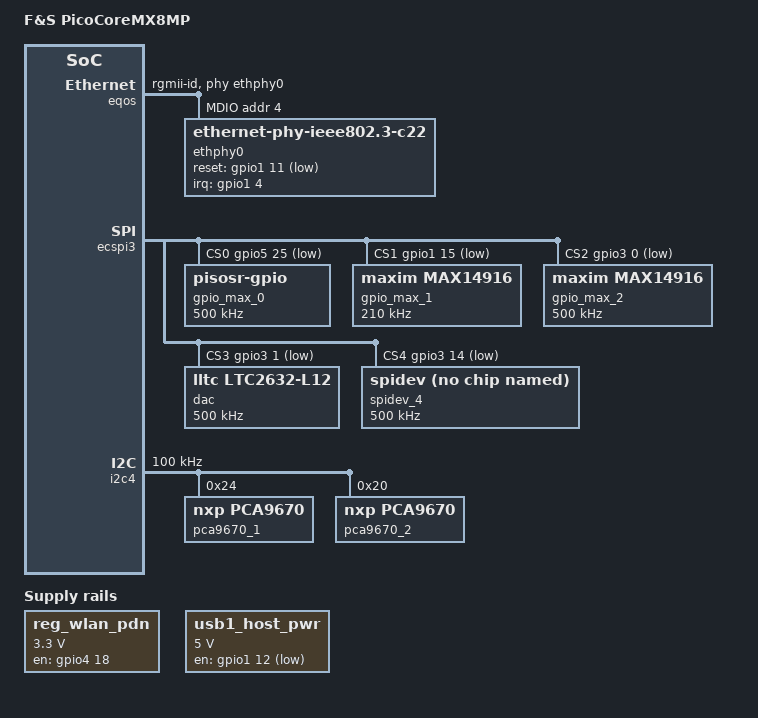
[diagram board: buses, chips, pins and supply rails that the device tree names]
/*
 * Copyright (C) 2023 I-GraphX GmbH
 *
 * This program is free software; you can redistribute it and/or modify
 * it under the terms of the GNU General Public License version 2 as
 * published by the Free Software Foundation.
 */

/dts-v1/;

#define CONFIG_PICOCOREBBDSI_BOARD_REVISION 140

#define CONFIG_PICOCOREMX8MP_ETH_A

#define CONFIG_PICOCOREMX8MP_WLAN
#define CONFIG_PICOCOREMX8MP_WLAN_MARVELL_DRV

#define CONFIG_PICOCOREMX8MP_USB_HOST

#define CONFIG_PICOCOREMX8MP_EEPROM

#define CONFIG_PICOCOREMX8MP_CAN_A
#define CONFIG_PICOCOREMX8MP_CAN_B

#define CONFIG_PICOCOREMX8MP_I2C_B
#define CONFIG_PICOCOREMX8MP_I2C_E

#define CONFIG_PICOCOREMX8MP_PWM_A
#define CONFIG_PICOCOREMX8MP_BL_CTRL

#define CONFIG_PICOCOREMX8MP_UART_A
#define CONFIG_PICOCOREMX8MP_UART_A_RTSCTS
#define CONFIG_PICOCOREMX8MP_UART_B
#define CONFIG_PICOCOREMX8MP_UART_B_RTSCTS

#define CONFIG_PICOCOREMX8MP_UART_C
#define CONFIG_PICOCOREMX8MP_UART_D

#define CONFIG_PICOCOREMX8MP_SPI_A

#define CONFIG_PICOCOREMX8MP_SD_A
#define CONFIG_PICOCOREMX8MP_SD_A_CD

#define CONFIG_PICOCOREMX8MP_EXT_RTC


#include "../F+S/picocoremx8mp.dtsi"

/ {
	model = "F&S PicoCoreMX8MP";
	reg_wlan_pdn: regulator-usdhc2-wlan {
		compatible = "regulator-fixed";
		regulator-name = "WLAN_RESET";
		regulator-min-microvolt = <3300000>;
		regulator-max-microvolt = <3300000>;
		gpio = <&gpio4 18 GPIO_ACTIVE_LOW>;
		off-on-delay-us = <1000>;
		enable-active-high;
	};

	regulator-usb1-vbus {
		compatible = "regulator-fixed";
		regulator-name = "usb1_host_pwr";
		pinctrl-names = "default";
		pinctrl-0 = <&pinctrl_usb1_pwr>;
		regulator-min-microvolt = <5000000>;
		regulator-max-microvolt = <5000000>;
		gpio = <&gpio1 12 GPIO_ACTIVE_LOW>;
		regulator-always-on;
	};

};
/* -------------------- BOARD INFO -------------------- */
&bdinfo {
        board_name = "igx-hmi1";
};

&eqos {
	pinctrl-names = "default";
	pinctrl-0 = <&pinctrl_eqos>;
	phy-mode = "rgmii-id";
	phy-handle = <&ethphy0>;
	snps,force_thresh_dma_mode;
	snps,mtl-tx-config = <&mtl_tx_setup>;
	snps,mtl-rx-config = <&mtl_rx_setup>;
	status = "okay";

	mdio {
		compatible = "snps,dwmac-mdio";
		#address-cells = <1>;
		#size-cells = <0>;

		ethphy0: ethernet-phy@4 {
			compatible = "ethernet-phy-ieee802.3-c22";
			reg = <4>;
			reset-gpios = <&gpio1 11 GPIO_ACTIVE_LOW>;
			reset-assert-us = <10000>;
			reset-deassert-us = <1000>;
			interrupt-parent = <&gpio1>;
			interrupts = <4 IRQ_TYPE_LEVEL_LOW>;
			eee-broken-1000t;
		};
	};

	mtl_tx_setup: tx-queues-config {
		snps,tx-queues-to-use = <5>;
		snps,tx-sched-sp;
		queue0 {
			snps,dcb-algorithm;
			snps,priority = <0x1>;
		};
		queue1 {
			snps,dcb-algorithm;
			snps,priority = <0x2>;
		};
		queue2 {
			snps,dcb-algorithm;
			snps,priority = <0x4>;
		};
		queue3 {
			snps,dcb-algorithm;
			snps,priority = <0x8>;
		};
		queue4 {
			snps,dcb-algorithm;
			snps,priority = <0xf0>;
		};
	};
	mtl_rx_setup: rx-queues-config {
		snps,rx-queues-to-use = <5>;
		snps,rx-sched-sp;
		queue0 {
			snps,dcb-algorithm;
			snps,priority = <0x1>;
			snps,map-to-dma-channel = <0>;
		};
		queue1 {
			snps,dcb-algorithm;
			snps,priority = <0x2>;
			snps,map-to-dma-channel = <1>;
		};
		queue2 {
			snps,dcb-algorithm;
			snps,priority = <0x4>;
			snps,map-to-dma-channel = <2>;
		};
		queue3 {
			snps,dcb-algorithm;
			snps,priority = <0x8>;
			snps,map-to-dma-channel = <3>;
		};
		queue4 {
			snps,dcb-algorithm;
			snps,priority = <0xf0>;
			snps,map-to-dma-channel = <4>;
		};
	};
};

&usb_dwc3_0 {
	/delete-property/ pinctrl-names;
	/delete-property/ pinctrl-0;
};

&ecspi3 {
	pinctrl-names = "default";
        pinctrl-0 = <&pinctrl_ecspi3 &pinctrl_ecspi3_cs>;
	num-cs = <5>;
	cs-gpios = <&gpio5 25 GPIO_ACTIVE_LOW>,
                   <&gpio1 15 GPIO_ACTIVE_LOW>,
                   <&gpio3 0 GPIO_ACTIVE_LOW>,
                   <&gpio3 1 GPIO_ACTIVE_LOW>,
                   <&gpio3 14 GPIO_ACTIVE_LOW>;
	status = "okay";
	/delete-node/ spidev@0;
	/*spidev_0@0 {
		compatible = "linux,spidev";
		spi-max-frequency = <500000>;
		reg = <0>;
		status = "okay";
		#address-cells = <1>;
                #size-cells = <1>;
	};*/
	gpio_max_0@0 {
		reg = <0>;
		compatible = "pisosr-gpio";
		gpio-controller;
		#gpio-cells = <2>;
		spi-max-frequency = <500000>;
		status = "okay";

		gpio-line-names = "XT11_DIN5", "XT11_DIN6", "", "", "", "", "XT12_DIN7", "XT12_DIN8";
	};
	gpio_max_1@1 {
                compatible = "maxim,max14916";
                reg = <1>;
                gpio-controller;
                #gpio-cells = <2>;
                spi-max-frequency = <210000>;
                status = "okay";

                maxim,addressed-mode;
                maxim,address-bits = <0>;

		gpio-line-names = "XT23_VL12", "XT23_VL11", "XT23_VL10", "XT22_VL09", "XT22_VL08", "XT22_VL07", "XT21_VL06", "XT21_VL05";
        };
        gpio_max_2@2 {
                compatible = "maxim,max14916";
                reg = <2>;
                gpio-controller;
                #gpio-cells = <2>;
                #address-bits = <1>;
                spi-max-frequency = <500000>;
                status = "okay";

                maxim,addressed-mode;
                maxim,address-bits = <1>;

		gpio-line-names = "XT24_VL13", "XT24_VL14", "XT25_VL15", "XT25_VL16", "XT25_VL17", "XT26_VL18", "XT26_VL19", "XT26_VL20";
        };
	dac@3 {
		status = "okay";
		compatible = "lltc,ltc2632-l12";
                reg = <3>;
                spi-max-frequency = <500000>;
        };
	spidev_4@4 {
                compatible = "linux,spidev";
                reg = <4>;
                spi-max-frequency = <500000>;
                status = "okay";
                #address-cells = <1>;
                #size-cells = <1>;
        };

};
&i2c4 {
        clock-frequency = <100000>;
        pinctrl-names = "default";
        pinctrl-0 = <&pinctrl_i2c4>;
        status = "okay";

        pca9670_1: gpio@24 {
                compatible = "nxp,pca9670";
                reg = <0x24>;
                gpio-controller;
                #gpio-cells = <2>;
                ngpios = <8>;
		gpio-line-names = "Ver_PCB_0", "Ver_PCB_1", "Ver_PCB_2", "Ver_Var_0", "Ver_Var_1", "Ver_Rev_0", "Ver_Rev_1", "Ver_Rev_2";
        };

        pca9670_2: gpio@20 {
                compatible = "nxp,pca9670";
                reg = <0x20>;
                gpio-controller;
                #gpio-cells = <2>;
                ngpios = <8>;
        };
};

&iomuxc {
	pinctrl-names = "default";
	pinctrl-0 = <&pinctrl_hog>;

	/delete-node/ pinctrl_usb1_pwr;
	pinctrl_usb1_pwr: usb1grp {
		fsl,pins = <
			MX8MP_IOMUXC_GPIO1_IO12__GPIO1_IO12     0x19
		>;
	};
	
	/delete-node/ pinctrl_hog;
	pinctrl_hog: hoggrp {
		fsl,pins = <
                        /* I2C_B_IRQn */
                        MX8MP_IOMUXC_GPIO1_IO13__GPIO1_IO13                     0x00144
                        /* GPIO_J1_7, MIPI_RESET  */
                        MX8MP_IOMUXC_SPDIF_EXT_CLK__GPIO5_IO05			0x00144
                        /* BL_ON */
                        MX8MP_IOMUXC_SPDIF_TX__GPIO5_IO03                       0x00104
                        /* VLCD_ON */
                        MX8MP_IOMUXC_SAI3_MCLK__GPIO5_IO02                      0x00104
                >;
	};

	/delete-node/ pinctl_ecspi3_cs;
	pinctl_ecspi3_cs: ecspi3cs {
		fsl,pins = <
			MX8MP_IOMUXC_UART2_TXD__GPIO5_IO25		0x40000
			MX8MP_IOMUXC_GPIO1_IO15__GPIO1_IO15		0x40000
			MX8MP_IOMUXC_NAND_ALE__GPIO3_IO00		0x40000
			MX8MP_IOMUXC_NAND_CE0_B__GPIO3_IO01		0x40000
			MX8MP_IOMUXC_NAND_DQS__GPIO3_IO14		0x40000
		>;
	};

	pinctrl_eqos: eqosgrp {
		fsl,pins = <
			MX8MP_IOMUXC_ENET_MDC__ENET_QOS_MDC	0x3
			MX8MP_IOMUXC_ENET_MDIO__ENET_QOS_MDIO	0x3
			MX8MP_IOMUXC_ENET_RD0__ENET_QOS_RGMII_RD0	0x91
			MX8MP_IOMUXC_ENET_RD1__ENET_QOS_RGMII_RD1	0x91
			MX8MP_IOMUXC_ENET_RD2__ENET_QOS_RGMII_RD2	0x91
			MX8MP_IOMUXC_ENET_RD3__ENET_QOS_RGMII_RD3	0x91
			MX8MP_IOMUXC_ENET_RXC__CCM_ENET_QOS_CLOCK_GENERATE_RX_CLK	0x91
			MX8MP_IOMUXC_ENET_RX_CTL__ENET_QOS_RGMII_RX_CTL	0x91
			MX8MP_IOMUXC_ENET_TD0__ENET_QOS_RGMII_TD0		0x1f
			MX8MP_IOMUXC_ENET_TD1__ENET_QOS_RGMII_TD1		0x1f
			MX8MP_IOMUXC_ENET_TD2__ENET_QOS_RGMII_TD2		0x1f
			MX8MP_IOMUXC_ENET_TD3__ENET_QOS_RGMII_TD3		0x1f
			MX8MP_IOMUXC_ENET_TX_CTL__ENET_QOS_RGMII_TX_CTL	0x1f
			MX8MP_IOMUXC_ENET_TXC__CCM_ENET_QOS_CLOCK_GENERATE_TX_CLK	0x1f
			/* ETH_A_PHY_INTn */
			MX8MP_IOMUXC_GPIO1_IO04__GPIO1_IO04		0x19
			/* ETH_A_PHY_RSTn */
			MX8MP_IOMUXC_GPIO1_IO11__GPIO1_IO11		0x19
		>;
	};
};

&uart1 {
	fsl,uart-has-rtscts;
	linux,rs485-enabled-at-boot-time;
};

&uart3 {
	fsl,uart-has-rtscts;
	linux,rs485-enabled-at-boot-time;
};
